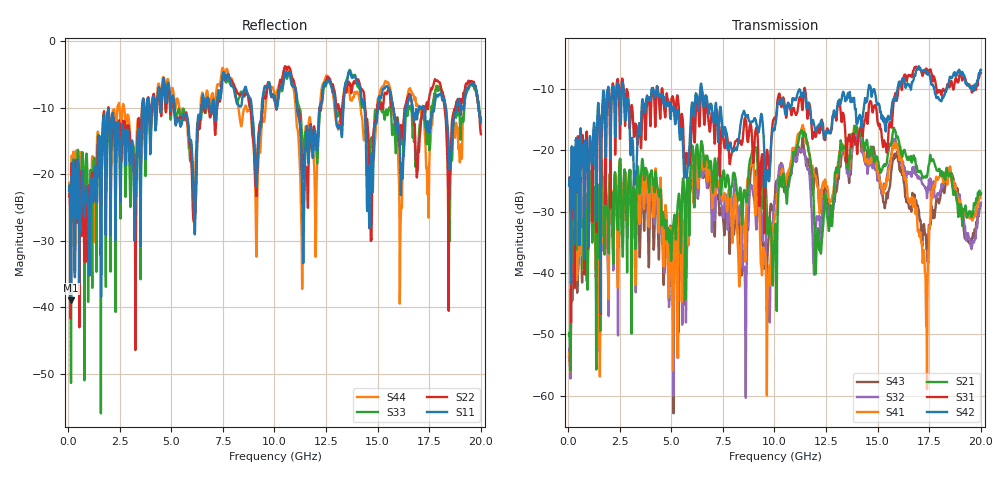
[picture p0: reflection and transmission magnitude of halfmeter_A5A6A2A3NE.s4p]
! FILE: D:\iPass\iPassCable1005\iPassCable\SOLT_cal\halfmeter_A5A6A2A3NE.s4p
# MHz S MA R 50.00
! FREQ  S11  S12  S13  S14
!  S21  S22  S23  S24
!  S31  S32  S33  S34
!  S41  S42  S43  S44
!  MAG  ANG  MAG  ANG  MAG  ANG  MAG  ANG
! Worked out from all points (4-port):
!   1996 points, 50 MHz to 20 GHz, reference 50 ohm
!   strongest paths, dB at 50 MHz, 5.04 GHz, 10.03 GHz, 15.02 GHz, 20 GHz:
!     S42: -25.7, -13.5, -16.0, -12.3, -6.9
!     S31: -25.7, -11.3, -14.8, -15.8, -7.4
!     S21: -50.2, -34.1, -32.3, -21.8, -27.0
!     S41: -53.3, -42.4, -30.5, -23.8, -26.9
!     S32: -52.8, -36.8, -28.2, -24.4, -28.5
!     S43: -53.7, -37.7, -26.9, -22.7, -28.6
!   lowest |S11| = -38.9 dB at 140 MHz (marker M1), VSWR 1.02, Z = 51 + j0.602 ohm
!   |S11| at or under -10 dB: start of sweep to 3.589 GHz; 5.156 GHz to 6.456 GHz (1.3 GHz wide, 22.4 % of centre); 11.1 GHz to 12.19 GHz (1.093 GHz wide, 9.39 % of centre)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
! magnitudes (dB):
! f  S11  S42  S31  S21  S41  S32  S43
! 50 MHz  -22.3  -25.7  -25.7  -50.2  -53.3  -52.8  -53.7
! 140 MHz  -38.9  -41.7  -48.1  -47.2  -44.6  -48.0  -46.0
! 8.9 GHz  -10.0  -15.3  -17.3  -20.6  -20.9  -25.8  -20.8
! 9.69 GHz  -6.5  -24.0  -21.4  -32.5  -40.8  -40.2  -35.7
! 11.35 GHz  -23.2  -10.9  -13.4  -17.0  -16.0  -20.3  -18.2
! 17.36 GHz  -13.1  -7.5  -6.6  -24.3  -48.5  -26.7  -35.7
! 20 GHz  -12.2  -6.9  -7.4  -27.0  -26.9  -28.5  -28.6
